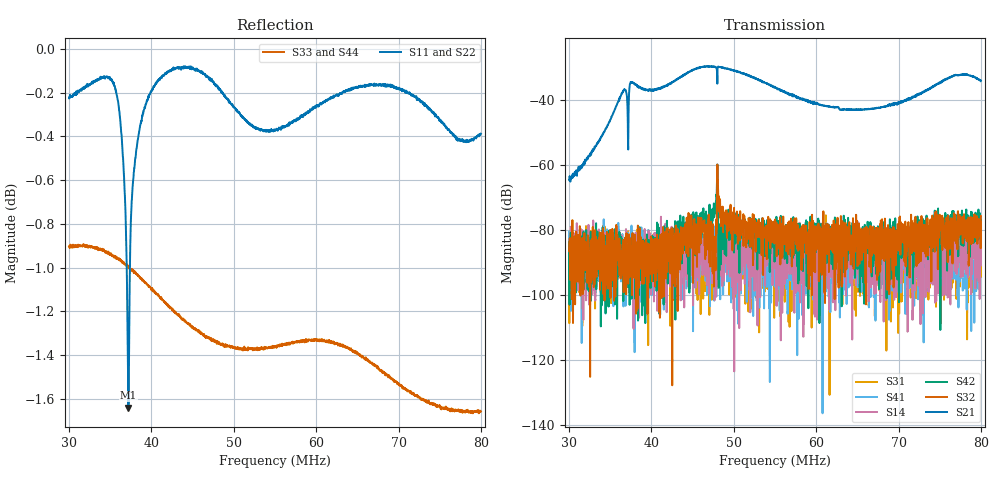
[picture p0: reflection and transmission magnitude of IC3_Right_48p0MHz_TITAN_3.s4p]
#  HZ  S  DB  R  50.00
! Rohde & Schwarz Vector Network Analyzer
! Rohde-Schwarz,ZNB8-4Port,1311601044102961,2.82
! Created: UTC 2/8/2019, 2:27:25 PM
! freq[Hz]  db:S11  ang:S11  db:S12  ang:S12  db:S13  ang:S13  db:S14  ang:S14
!  db:S21  ang:S21  db:S22  ang:S22  db:S23  ang:S23  db:S24  ang:S24
!  db:S31  ang:S31  db:S32  ang:S32  db:S33  ang:S33  db:S34  ang:S34
!  db:S41  ang:S41  db:S42  ang:S42  db:S43  ang:S43  db:S44  ang:S44
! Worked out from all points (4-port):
!   2001 points, 30 MHz to 80 MHz, reference 50 ohm
!   strongest paths, dB at 30 MHz, 42.5 MHz, 55 MHz, 67.5 MHz, 80 MHz:
!     S21: -64.5, -34.5, -35.9, -42.3, -34.0
!     S32: -86.4, -83.7, -76.7, -81.0, -75.6
!     S42: -91.6, -85.0, -79.5, -78.8, -80.1
!     S14: -96.4, -82.0, -84.0, -83.1, -89.0
!     S41: -81.7, -87.0, -97.4, -91.7, -85.4
!     S31: -93.5, -81.2, -88.1, -83.5, -85.1
!   lowest |S11| = -1.6 dB at 37.2 MHz (marker M1), VSWR 10.63, Z = 129 + j224 ohm
!   |S11| at or under -10 dB: nowhere
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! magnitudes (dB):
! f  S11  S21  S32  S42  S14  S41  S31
! 30 MHz  -0.2  -64.5  -86.4  -91.6  -96.4  -81.7  -93.5
! 37.2 MHz  -1.6  -47.1  -84.6  -85.5  -85.7  -91.3  -84.5
! 46.73 MHz  -0.1  -29.5  -80.4  -77.1  -96.8  -87.5  -87.3
! 48.17 MHz  -0.2  -29.8  -69.5  -97.7  -89.9  -83.5  -86.3
! 50.33 MHz  -0.3  -31.1  -75.7  -75.4  -83.0  -86.4  -95.2
! 63.1 MHz  -0.2  -42.9  -97.3  -103.4  -81.5  -84.7  -84.6
! 80 MHz  -0.4  -34.0  -75.6  -80.1  -89.0  -85.4  -85.1
